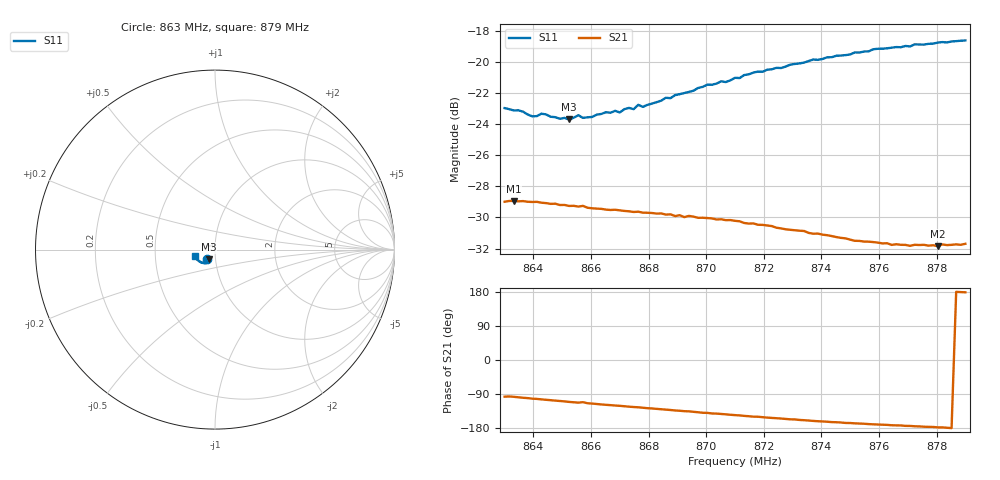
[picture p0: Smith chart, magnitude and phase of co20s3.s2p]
# HZ S RI R 50
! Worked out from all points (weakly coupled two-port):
!   101 points, 863 MHz to 879 MHz, reference 50 ohm
!   highest |S21| = -28.94 dB at 863.32 MHz (marker M1); lowest = -31.8 dB at 878.04 MHz (marker M2)
!   lowest |S11| = -23.7 dB at 865.24 MHz (marker M3), VSWR 1.14, Z = 46.3 - j5.06 ohm
!   |S11| at or under -10 dB: start of sweep to end of sweep
!   S12 and S22 are empty: the file has one direction only
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8.63e8  -0.0453 -0.0547  -0.00417 -0.0353  0 0  0 0
8.6332e8  -0.0441 -0.0541  -0.00443 -0.0355  0 0  0 0
8.6364e8  -0.0425 -0.0546  -0.00598 -0.0352  0 0  0 0
8.6396e8  -0.0401 -0.0535  -0.00737 -0.0347  0 0  0 0
8.6428e8  -0.0395 -0.0556  -0.00849 -0.0342  0 0  0 0
8.6524e8  -0.0361 -0.0544  -0.0121 -0.0322  0 0  0 0
8.6556e8  -0.0373 -0.0561  -0.0131 -0.0316  0 0  0 0
8.6572e8  -0.0344 -0.0564  -0.0125 -0.0321  0 0  0 0
8.6684e8  -0.0342 -0.0606  -0.0168 -0.0289  0 0  0 0
8.67e8  -0.0339 -0.0598  -0.0171 -0.0286  0 0  0 0
8.6732e8  -0.0348 -0.0621  -0.0181 -0.0277  0 0  0 0
8.6748e8  -0.0344 -0.0615  -0.0185 -0.0273  0 0  0 0
8.6764e8  -0.0357 -0.0634  -0.0189 -0.0271  0 0  0 0
8.678e8  -0.0346 -0.0628  -0.0192 -0.0265  0 0  0 0
8.6844e8  -0.0356 -0.0661  -0.0209 -0.025  0 0  0 0
8.7004e8  -0.0421 -0.0733  -0.0239 -0.0204  0 0  0 0
8.7068e8  -0.0458 -0.0729  -0.0249 -0.0185  0 0  0 0
8.71e8  -0.0484 -0.0746  -0.0254 -0.0175  0 0  0 0
8.7372e8  -0.0697 -0.0742  -0.0265 -0.00921  0 0  0 0
8.7644e8  -0.0928 -0.0611  -0.0256 -0.0035  0 0  0 0
8.7804e8  -0.1046 -0.0486  -0.0255 -0.001  0 0  0 0
8.79e8  -0.1108 -0.0382  -0.026 0.000611  0 0  0 0
